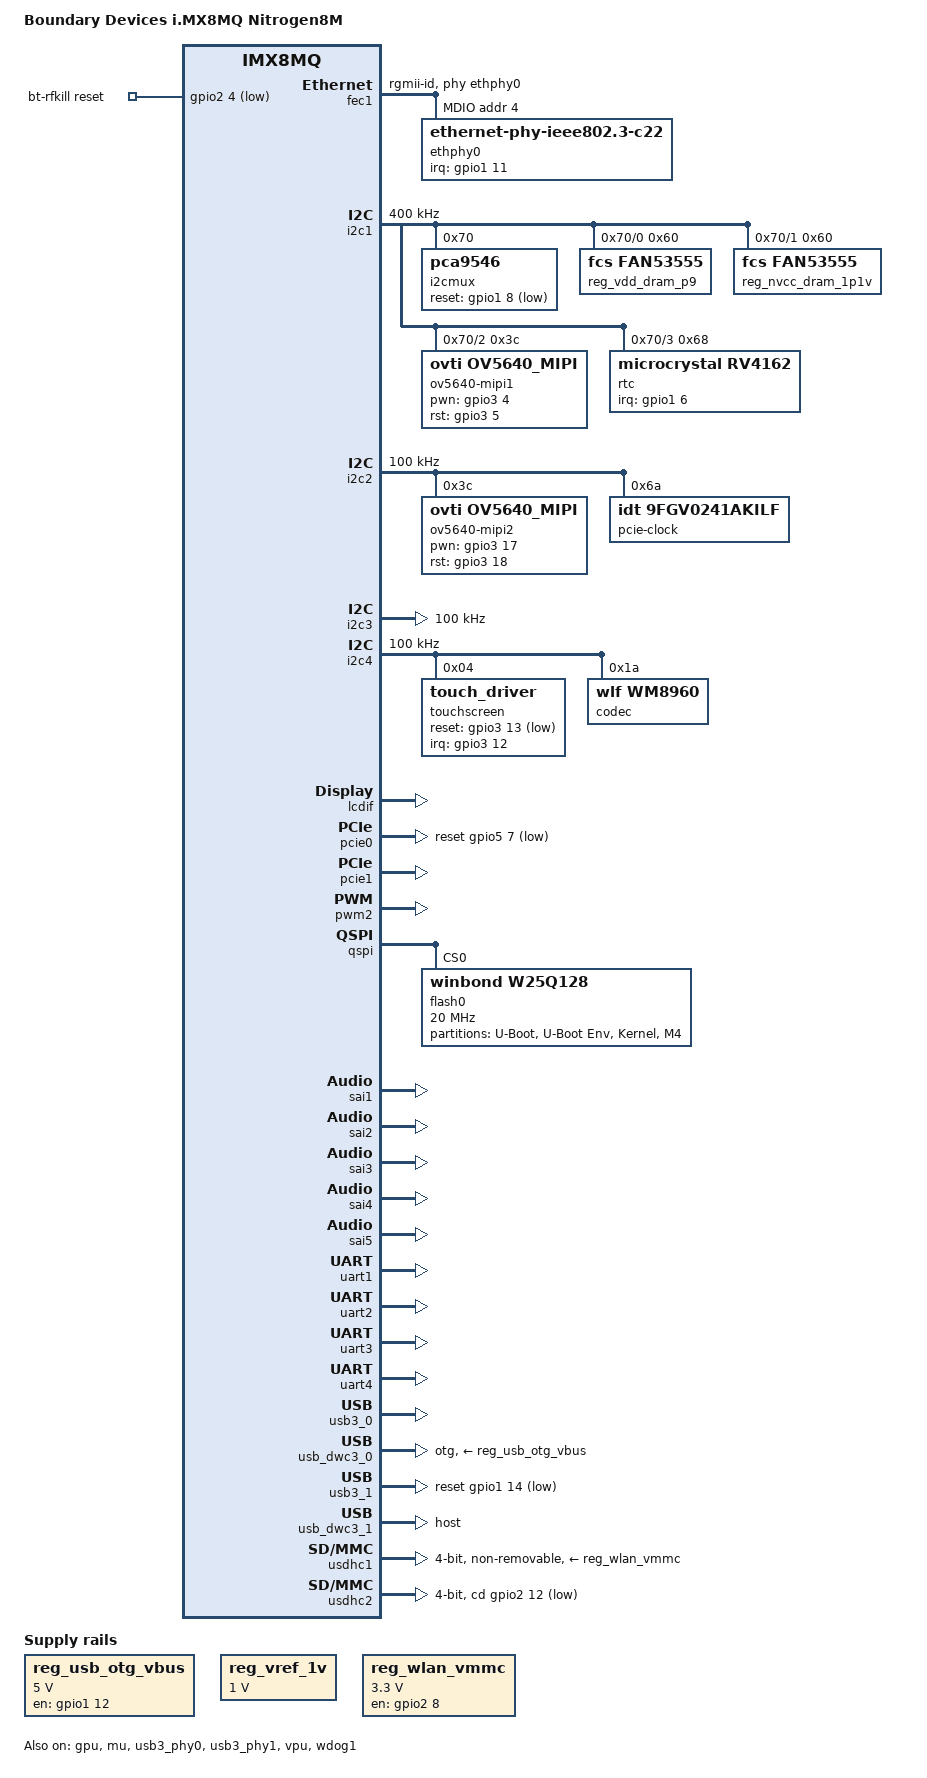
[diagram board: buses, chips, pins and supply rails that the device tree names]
// SPDX-License-Identifier: (GPL-2.0+ OR MIT)
/*
 * Copyright 2018 Boundary Devices
 */

/dts-v1/;

/* First 128KB is for PSCI ATF. */
/memreserve/ 0x40000000 0x00020000;

#include "fsl-imx8mq.dtsi"

/ {
	model = "Boundary Devices i.MX8MQ Nitrogen8M";
	compatible = "boundary,imx8mq-nitrogen8m", "fsl,imx8mq";

	chosen {
		bootargs = "console=ttymxc0,115200 earlycon=ec_imx6q,0x30860000,115200";
		stdout-path = &uart1;
	};

#if 0
	backlight_mipi_dsi: backlight_mipi_dsi {
		compatible = "pwm-backlight";
		brightness-levels = <0 1 2 3 4 5 6 7 8 9 10>;
		default-brightness-level = <8>;
		pwms = <&pwm3 0 30000>;
	};
#endif

	bt-rfkill {
		compatible = "net,rfkill-gpio";
		pinctrl-names = "default";
		pinctrl-0 = <&pinctrl_bt_rfkill>;
		name = "bt-rfkill";
		type = <2>; /* Bluetooth */
		reset-gpios = <&gpio2 4 GPIO_ACTIVE_LOW>;
		status = "okay";
	};

	mipi_mclk: mipi_mclk {
		compatible = "pwm-clock";
		#clock-cells = <0>;
		clock-frequency = <22000000>;
		clock-output-names = "mipi_mclk";
#if 0
		pwms = <&pwm1 0 45>; /* 1 / 45 ns = 22 MHz */
#endif
	};

	reg_usb_otg_vbus: regulator-usb-otg-vbus {
		compatible = "regulator-fixed";
		pinctrl-names = "default";
		pinctrl-0 = <&pinctrl_reg_usbotg_vbus>;
		regulator-name = "usb_otg_vbus";
		regulator-min-microvolt = <5000000>;
		regulator-max-microvolt = <5000000>;
		gpio = <&gpio1 12 GPIO_ACTIVE_HIGH>;
		enable-active-high;
	};

	reg_vref_1v: regulator-vref-1v {
		compatible = "regulator-fixed";
		regulator-name = "vref-1v";
		regulator-min-microvolt = <1000000>;
		regulator-max-microvolt = <1000000>;
	};

	reg_wlan_vmmc: regulator-wlan-vmmc {
		compatible = "regulator-fixed";
		pinctrl-names = "default";
		pinctrl-0 = <&pinctrl_reg_wlan_vmmc>;
		regulator-name = "reg_wlan_vmmc";
		regulator-min-microvolt = <3300000>;
		regulator-max-microvolt = <3300000>;
		gpio = <&gpio2 8 GPIO_ACTIVE_HIGH>;
		startup-delay-us = <70000>;
		enable-active-high;
	};

	sound-wm8960 {
		compatible = "fsl,imx-audio-wm8960";
		model = "wm8960-audio";
		cpu-dai = <&sai1>;
		codec-master;
		audio-codec = <&codec>;
		audio-routing =
			"Headphone Jack", "HP_L",
			"Headphone Jack", "HP_R",
			"Ext Spk", "SPK_LP",
			"Ext Spk", "SPK_LN",
			"Ext Spk", "SPK_RP",
			"Ext Spk", "SPK_RN",
			"LINPUT1", "Main MIC",
			"Main MIC", "MICB";
		/* JD2: hp detect high for headphone*/
		hp-det = <2 0>;
	};

	sound-hdmi {
		compatible = "fsl,imx-audio-cdnhdmi";
		model = "imx-audio-hdmi";
		audio-cpu = <&sai4>;
		protocol = <1>;
	};
};

&iomuxc {
	pinctrl-names = "default";
	pinctrl-0 = <&pinctrl_hog>;

	imx8mq-nitrogen8m {
		pinctrl_hog: hoggrp {
			fsl,pins = <
				/* J17 connector */
				MX8MQ_IOMUXC_GPIO1_IO03_GPIO1_IO3		0x19
				MX8MQ_IOMUXC_GPIO1_IO07_GPIO1_IO7		0x19
				MX8MQ_IOMUXC_GPIO1_IO10_GPIO1_IO10		0x19
				MX8MQ_IOMUXC_NAND_CE1_B_GPIO3_IO2		0x19
				MX8MQ_IOMUXC_NAND_CE2_B_GPIO3_IO3		0x19
				MX8MQ_IOMUXC_SD2_RESET_B_GPIO2_IO19		0x19
				/* J18 connector */
				MX8MQ_IOMUXC_GPIO1_IO02_GPIO1_IO2		0x19
				MX8MQ_IOMUXC_GPIO1_IO05_GPIO1_IO5		0x19
				MX8MQ_IOMUXC_NAND_READY_B_GPIO3_IO16		0x19
			>;
		};

		pinctrl_bt_rfkill: bt-rfkillgrp {
			fsl,pins = <
				MX8MQ_IOMUXC_SD1_DATA5_GPIO2_IO7		0x19
			>;
		};

		pinctrl_csi1: csi1grp {
			fsl,pins = <
				MX8MQ_IOMUXC_NAND_CE3_B_GPIO3_IO4		0x19
				MX8MQ_IOMUXC_NAND_CLE_GPIO3_IO5			0x19
				MX8MQ_IOMUXC_GPIO1_IO15_CCMSRCGPCMIX_CLKO2	0x59
			>;
		};

		pinctrl_csi2: csi2grp {
			fsl,pins = <
				MX8MQ_IOMUXC_NAND_WE_B_GPIO3_IO17		0x19
				MX8MQ_IOMUXC_NAND_WP_B_GPIO3_IO18		0x19
				MX8MQ_IOMUXC_GPIO1_IO15_CCMSRCGPCMIX_CLKO2	0x59
			>;
		};

		pinctrl_ecspi2: ecspi2grp {
			fsl,pins = <
				MX8MQ_IOMUXC_ECSPI2_SCLK_ECSPI2_SCLK		0x19
				MX8MQ_IOMUXC_ECSPI2_MOSI_ECSPI2_MOSI		0x19
				MX8MQ_IOMUXC_ECSPI2_MISO_ECSPI2_MISO		0x19
				MX8MQ_IOMUXC_ECSPI2_SS0_ECSPI2_SS0		0x19
			>;
		};

		pinctrl_fec1: fec1grp {
			fsl,pins = <
				MX8MQ_IOMUXC_ENET_MDC_ENET1_MDC		0x3
				MX8MQ_IOMUXC_ENET_MDIO_ENET1_MDIO	0x23
				MX8MQ_IOMUXC_ENET_TD3_ENET1_RGMII_TD3	0x1f
				MX8MQ_IOMUXC_ENET_TD2_ENET1_RGMII_TD2	0x1f
				MX8MQ_IOMUXC_ENET_TD1_ENET1_RGMII_TD1	0x1f
				MX8MQ_IOMUXC_ENET_TD0_ENET1_RGMII_TD0	0x1f
				MX8MQ_IOMUXC_ENET_RD3_ENET1_RGMII_RD3	0x91
				MX8MQ_IOMUXC_ENET_RD2_ENET1_RGMII_RD2	0x91
				MX8MQ_IOMUXC_ENET_RD1_ENET1_RGMII_RD1	0x91
				MX8MQ_IOMUXC_ENET_RD0_ENET1_RGMII_RD0	0x91
				MX8MQ_IOMUXC_ENET_TXC_ENET1_RGMII_TXC	0x1f
				MX8MQ_IOMUXC_ENET_RXC_ENET1_RGMII_RXC	0x91
				MX8MQ_IOMUXC_ENET_RX_CTL_ENET1_RGMII_RX_CTL	0x91
				MX8MQ_IOMUXC_ENET_TX_CTL_ENET1_RGMII_TX_CTL	0x1f
				MX8MQ_IOMUXC_GPIO1_IO09_GPIO1_IO9	0x19
				MX8MQ_IOMUXC_GPIO1_IO11_GPIO1_IO11	0x59
			>;
		};

		pinctrl_i2c1: i2c1grp {
			fsl,pins = <
				MX8MQ_IOMUXC_I2C1_SCL_I2C1_SCL			0x4000007f
				MX8MQ_IOMUXC_I2C1_SDA_I2C1_SDA			0x4000007f
			>;
		};

		pinctrl_i2c1_pca9546: i2c1-pca9546grp {
			fsl,pins = <
				MX8MQ_IOMUXC_GPIO1_IO08_GPIO1_IO8		0x49
			>;
		};

		pinctrl_i2c1d_rv4162: i2c1d-rv4162grp {
			fsl,pins = <
				MX8MQ_IOMUXC_GPIO1_IO06_GPIO1_IO6		0x49
			>;
		};

		pinctrl_i2c2: i2c2grp {
			fsl,pins = <
				MX8MQ_IOMUXC_I2C2_SCL_I2C2_SCL			0x4000007f
				MX8MQ_IOMUXC_I2C2_SDA_I2C2_SDA			0x4000007f
			>;
		};

		pinctrl_i2c3: i2c3grp {
			fsl,pins = <
				MX8MQ_IOMUXC_I2C3_SCL_I2C3_SCL			0x4000007f
				MX8MQ_IOMUXC_I2C3_SDA_I2C3_SDA			0x4000007f
			>;
		};

		pinctrl_i2c4: i2c4grp {
			fsl,pins = <
				MX8MQ_IOMUXC_I2C4_SCL_I2C4_SCL			0x4000007f
				MX8MQ_IOMUXC_I2C4_SDA_I2C4_SDA			0x4000007f
			>;
		};

		pinctrl_i2c4_touch: i2c4-touchgrp {
			fsl,pins = <
				MX8MQ_IOMUXC_NAND_DATA06_GPIO3_IO12	0x49
				MX8MQ_IOMUXC_NAND_DATA07_GPIO3_IO13	0x49
			>;
		};

		pinctrl_mipi_dsi_en: mipi-dsi-en {
			fsl,pins = <
				MX8MQ_IOMUXC_NAND_RE_B_GPIO3_IO15	0x16
			>;
		};

		pinctrl_pcie0: pcie0grp {
			fsl,pins = <
				MX8MQ_IOMUXC_ECSPI1_MOSI_GPIO5_IO7	0x16
				MX8MQ_IOMUXC_ECSPI1_SCLK_GPIO5_IO6	0x16
			>;
		};

		pinctrl_pwm1: pwm1grp {
			fsl,pins = <
				MX8MQ_IOMUXC_SPDIF_EXT_CLK_PWM1_OUT	0x16
			>;
		};

		pinctrl_pwm2: pwm2grp {
			fsl,pins = <
				MX8MQ_IOMUXC_SPDIF_RX_PWM2_OUT		0x16
			>;
		};

		pinctrl_pwm3: pwm3grp {
			fsl,pins = <
				MX8MQ_IOMUXC_SPDIF_TX_PWM3_OUT		0x16
			>;
		};

		pinctrl_qspi: qspigrp {
			fsl,pins = <
				MX8MQ_IOMUXC_NAND_ALE_QSPI_A_SCLK	0x82
				MX8MQ_IOMUXC_NAND_CE0_B_QSPI_A_SS0_B	0x82
				MX8MQ_IOMUXC_NAND_DATA00_QSPI_A_DATA0	0x82
				MX8MQ_IOMUXC_NAND_DATA01_QSPI_A_DATA1	0x82
				MX8MQ_IOMUXC_NAND_DATA02_QSPI_A_DATA2	0x82
				MX8MQ_IOMUXC_NAND_DATA03_QSPI_A_DATA3	0x82
			>;
		};

		pinctrl_reg_usbotg_vbus: reg-usbotg-vbusgrp {
			fsl,pins = <
				MX8MQ_IOMUXC_GPIO1_IO12_GPIO1_IO12	0x16
			>;
		};

		pinctrl_reg_wlan_vmmc: reg-wlan-vmmcgrp {
			fsl,pins = <
				MX8MQ_IOMUXC_SD1_DATA6_GPIO2_IO8	0x16
			>;
		};

		pinctrl_sai1: sai1grp {
			fsl,pins = <
				MX8MQ_IOMUXC_SAI1_MCLK_SAI1_MCLK		0xd6
				MX8MQ_IOMUXC_SAI1_TXFS_SAI1_TX_SYNC		0xd6
				MX8MQ_IOMUXC_SAI1_TXC_SAI1_TX_BCLK		0xd6
				MX8MQ_IOMUXC_SAI1_TXD0_SAI1_TX_DATA0		0xd6
				MX8MQ_IOMUXC_SAI1_TXD1_SAI1_TX_DATA1		0xd6
				MX8MQ_IOMUXC_SAI1_TXD2_SAI1_TX_DATA2		0xd6
				MX8MQ_IOMUXC_SAI1_TXD3_SAI1_TX_DATA3		0xd6
				MX8MQ_IOMUXC_SAI1_TXD4_SAI1_TX_DATA4		0xd6
				MX8MQ_IOMUXC_SAI1_TXD5_SAI1_TX_DATA5		0xd6
				MX8MQ_IOMUXC_SAI1_TXD6_SAI1_TX_DATA6		0xd6
				MX8MQ_IOMUXC_SAI1_TXD7_SAI1_TX_DATA7		0xd6
				MX8MQ_IOMUXC_SAI1_RXFS_SAI1_RX_SYNC		0xd6
				MX8MQ_IOMUXC_SAI1_RXC_SAI1_RX_BCLK		0xd6
				MX8MQ_IOMUXC_SAI1_RXD0_SAI1_RX_DATA0		0xd6
				MX8MQ_IOMUXC_SAI1_RXD1_SAI1_RX_DATA1		0xd6
				MX8MQ_IOMUXC_SAI1_RXD2_SAI1_RX_DATA2		0xd6
				MX8MQ_IOMUXC_SAI1_RXD3_SAI1_RX_DATA3		0xd6
				MX8MQ_IOMUXC_SAI1_RXD4_SAI1_RX_DATA4		0xd6
				MX8MQ_IOMUXC_SAI1_RXD5_SAI1_RX_DATA5		0xd6
				MX8MQ_IOMUXC_SAI1_RXD6_SAI1_RX_DATA6		0xd6
				MX8MQ_IOMUXC_SAI1_RXD7_SAI1_RX_DATA7		0xd6
			>;
		};

		pinctrl_sai2: sai2grp {
			fsl,pins = <
				MX8MQ_IOMUXC_SAI2_MCLK_SAI2_MCLK		0xd6
				MX8MQ_IOMUXC_SAI2_TXFS_SAI2_TX_SYNC		0xd6
				MX8MQ_IOMUXC_SAI2_TXC_SAI2_TX_BCLK		0xd6
				MX8MQ_IOMUXC_SAI2_TXD0_SAI2_TX_DATA0		0xd6
				MX8MQ_IOMUXC_SAI2_RXFS_SAI2_RX_SYNC		0xd6
				MX8MQ_IOMUXC_SAI2_RXC_SAI2_RX_BCLK		0xd6
				MX8MQ_IOMUXC_SAI2_RXD0_SAI2_RX_DATA0		0xd6
			>;
		};

		pinctrl_sai3: sai3grp {
			fsl,pins = <
				MX8MQ_IOMUXC_SAI3_MCLK_SAI3_MCLK		0xd6
				MX8MQ_IOMUXC_SAI3_TXFS_SAI3_TX_SYNC		0xd6
				MX8MQ_IOMUXC_SAI3_TXC_SAI3_TX_BCLK		0xd6
				MX8MQ_IOMUXC_SAI3_TXD_SAI3_TX_DATA0		0xd6
				MX8MQ_IOMUXC_SAI3_RXFS_SAI3_RX_SYNC		0xd6
				MX8MQ_IOMUXC_SAI3_RXC_SAI3_RX_BCLK		0xd6
				MX8MQ_IOMUXC_SAI3_RXD_SAI3_RX_DATA0		0xd6
			>;
		};

		pinctrl_sai5: sai5grp {
			fsl,pins = <
				MX8MQ_IOMUXC_SAI5_MCLK_SAI5_MCLK		0xd6
				MX8MQ_IOMUXC_SAI5_RXFS_SAI5_RX_SYNC		0xd6
				MX8MQ_IOMUXC_SAI5_RXC_SAI5_RX_BCLK		0xd6
				MX8MQ_IOMUXC_SAI5_RXD0_SAI5_RX_DATA0		0xd6
				MX8MQ_IOMUXC_SAI5_RXD1_SAI5_RX_DATA1		0xd6
				MX8MQ_IOMUXC_SAI5_RXD2_SAI5_RX_DATA2		0xd6
				MX8MQ_IOMUXC_SAI5_RXD3_SAI5_RX_DATA3		0xd6
			>;
		};

		pinctrl_uart1: uart1grp {
			fsl,pins = <
				MX8MQ_IOMUXC_UART1_RXD_UART1_DCE_RX		0x49
				MX8MQ_IOMUXC_UART1_TXD_UART1_DCE_TX		0x49
			>;
		};

		pinctrl_uart2: uart2grp {
			fsl,pins = <
				MX8MQ_IOMUXC_UART2_RXD_UART2_DCE_RX		0x49
				MX8MQ_IOMUXC_UART2_TXD_UART2_DCE_TX		0x49
			>;
		};

		pinctrl_uart3: uart3grp {
			fsl,pins = <
				MX8MQ_IOMUXC_UART3_RXD_UART3_DCE_RX		0x49
				MX8MQ_IOMUXC_UART3_TXD_UART3_DCE_TX		0x49
				MX8MQ_IOMUXC_ECSPI1_SS0_UART3_DCE_RTS_B		0x49
				MX8MQ_IOMUXC_ECSPI1_MISO_UART3_DCE_CTS_B	0x49
			>;
		};

		pinctrl_uart4: uart4grp {
			fsl,pins = <
				MX8MQ_IOMUXC_UART4_RXD_UART4_DCE_RX		0x49
				MX8MQ_IOMUXC_UART4_TXD_UART4_DCE_TX		0x49
			>;
		};

		pinctrl_usb3_1: usb3-1grp {
			fsl,pins = <
				MX8MQ_IOMUXC_GPIO1_IO14_GPIO1_IO14		0x16
			>;
		};

		pinctrl_usdhc1: usdhc1grp {
			fsl,pins = <
				MX8MQ_IOMUXC_SD1_CLK_USDHC1_CLK			0x83
				MX8MQ_IOMUXC_SD1_CMD_USDHC1_CMD			0xc3
				MX8MQ_IOMUXC_SD1_DATA0_USDHC1_DATA0		0xc3
				MX8MQ_IOMUXC_SD1_DATA1_USDHC1_DATA1		0xc3
				MX8MQ_IOMUXC_SD1_DATA2_USDHC1_DATA2		0xc3
				MX8MQ_IOMUXC_SD1_DATA3_USDHC1_DATA3		0xc3
				MX8MQ_IOMUXC_SD1_STROBE_USDHC1_STROBE		0x83
				MX8MQ_IOMUXC_SD1_RESET_B_USDHC1_RESET_B		0xc1
			>;
		};

		pinctrl_usdhc1_100mhz: usdhc1grp100mhz {
			fsl,pins = <
				MX8MQ_IOMUXC_SD1_CLK_USDHC1_CLK			0x85
				MX8MQ_IOMUXC_SD1_CMD_USDHC1_CMD			0xc5
				MX8MQ_IOMUXC_SD1_DATA0_USDHC1_DATA0		0xc5
				MX8MQ_IOMUXC_SD1_DATA1_USDHC1_DATA1		0xc5
				MX8MQ_IOMUXC_SD1_DATA2_USDHC1_DATA2		0xc5
				MX8MQ_IOMUXC_SD1_DATA3_USDHC1_DATA3		0xc5
				MX8MQ_IOMUXC_SD1_STROBE_USDHC1_STROBE		0x85
				MX8MQ_IOMUXC_SD1_RESET_B_USDHC1_RESET_B		0xc1
			>;
		};

		pinctrl_usdhc1_200mhz: usdhc1grp200mhz {
			fsl,pins = <
				MX8MQ_IOMUXC_SD1_CLK_USDHC1_CLK			0x87
				MX8MQ_IOMUXC_SD1_CMD_USDHC1_CMD			0xc7
				MX8MQ_IOMUXC_SD1_DATA0_USDHC1_DATA0		0xc7
				MX8MQ_IOMUXC_SD1_DATA1_USDHC1_DATA1		0xc7
				MX8MQ_IOMUXC_SD1_DATA2_USDHC1_DATA2		0xc7
				MX8MQ_IOMUXC_SD1_DATA3_USDHC1_DATA3		0xc7
				MX8MQ_IOMUXC_SD1_STROBE_USDHC1_STROBE		0x87
				MX8MQ_IOMUXC_SD1_RESET_B_USDHC1_RESET_B		0xc1
			>;
		};

		pinctrl_usdhc2_gpio: usdhc2grpgpio {
			fsl,pins = <
				MX8MQ_IOMUXC_SD2_CD_B_GPIO2_IO12	0x41
			>;
		};

		pinctrl_usdhc2: usdhc2grp {
			fsl,pins = <
				MX8MQ_IOMUXC_SD2_CLK_USDHC2_CLK			0x83
				MX8MQ_IOMUXC_SD2_CMD_USDHC2_CMD			0xc3
				MX8MQ_IOMUXC_SD2_DATA0_USDHC2_DATA0		0xc3
				MX8MQ_IOMUXC_SD2_DATA1_USDHC2_DATA1		0xc3
				MX8MQ_IOMUXC_SD2_DATA2_USDHC2_DATA2		0xc3
				MX8MQ_IOMUXC_SD2_DATA3_USDHC2_DATA3		0xc3
				MX8MQ_IOMUXC_GPIO1_IO04_USDHC2_VSELECT		0xc1
			>;
		};

		pinctrl_usdhc2_100mhz: usdhc2grp100mhz {
			fsl,pins = <
				MX8MQ_IOMUXC_SD2_CLK_USDHC2_CLK			0x85
				MX8MQ_IOMUXC_SD2_CMD_USDHC2_CMD			0xc5
				MX8MQ_IOMUXC_SD2_DATA0_USDHC2_DATA0		0xc5
				MX8MQ_IOMUXC_SD2_DATA1_USDHC2_DATA1		0xc5
				MX8MQ_IOMUXC_SD2_DATA2_USDHC2_DATA2		0xc5
				MX8MQ_IOMUXC_SD2_DATA3_USDHC2_DATA3		0xc5
				MX8MQ_IOMUXC_GPIO1_IO04_USDHC2_VSELECT		0xc1
			>;
		};

		pinctrl_usdhc2_200mhz: usdhc2grp200mhz {
			fsl,pins = <
				MX8MQ_IOMUXC_SD2_CLK_USDHC2_CLK			0x87
				MX8MQ_IOMUXC_SD2_CMD_USDHC2_CMD			0xc7
				MX8MQ_IOMUXC_SD2_DATA0_USDHC2_DATA0		0xc7
				MX8MQ_IOMUXC_SD2_DATA1_USDHC2_DATA1		0xc7
				MX8MQ_IOMUXC_SD2_DATA2_USDHC2_DATA2		0xc7
				MX8MQ_IOMUXC_SD2_DATA3_USDHC2_DATA3		0xc7
				MX8MQ_IOMUXC_GPIO1_IO04_USDHC2_VSELECT		0xc1
			>;
		};
	};
};

&A53_0 {
	operating-points = <
		/* kHz    uV */
		1500000 1000000
		1300000 1000000
		1000000 900000
		800000  900000
	>;
};

&clk {
	assigned-clocks = <&clk IMX8MQ_AUDIO_PLL1>, <&clk IMX8MQ_AUDIO_PLL2>;
	assigned-clock-rates = <786432000>, <722534400>;
};

#if 0
&csi1_bridge {
	fsl,mipi-mode;
	fsl,two-8bit-sensor-mode;
	status = "okay";

	port {
		csi1_ep: endpoint {
			remote-endpoint = <&csi1_mipi_ep>;
		};
	};
};

&csi2_bridge {
	fsl,mipi-mode;
	fsl,two-8bit-sensor-mode;
	status = "okay";

	port {
		csi2_ep: endpoint {
			remote-endpoint = <&csi2_mipi_ep>;
		};
	};
};

&dcss {
	status = "okay";
	disp-dev = "hdmi_disp";
};

&ecspi2 {
	pinctrl-names = "default";
	pinctrl-0 = <&pinctrl_ecspi2>;
	status = "okay";
};
#endif

&fec1 {
	pinctrl-names = "default";
	pinctrl-0 = <&pinctrl_fec1>;
#if 0
	phy-reset-gpios = <&gpio1 9 GPIO_ACTIVE_HIGH>;
#endif
	phy-mode = "rgmii-id";
	phy-handle = <&ethphy0>;
	fsl,magic-packet;
	status = "okay";

	mdio {
		#address-cells = <1>;
		#size-cells = <0>;

		ethphy0: ethernet-phy@4 {
			compatible = "ethernet-phy-ieee802.3-c22";
			reg = <4>;
			interrupts-extended = <&gpio1 11 IRQ_TYPE_LEVEL_LOW>;
		};
	};
};

&gpu {
	status = "okay";
};

#if 0
&hdmi {
	status = "okay";
};

&hdmi_cec {
	status = "okay";
};
#endif

&i2c1 {
	clock-frequency = <400000>;
	pinctrl-names = "default";
	pinctrl-0 = <&pinctrl_i2c1>;
	status = "okay";

	i2cmux@70 {
		compatible = "pca9546";
		pinctrl-names = "default";
		pinctrl-0 = <&pinctrl_i2c1_pca9546>;
		reg = <0x70>;
		reset-gpios = <&gpio1 8 GPIO_ACTIVE_LOW>;
		#address-cells = <1>;
		#size-cells = <0>;

		i2c1a: i2c1@0 {
			reg = <0>;
			#address-cells = <1>;
			#size-cells = <0>;
		};

		i2c1b: i2c1@1 {
			reg = <1>;
			#address-cells = <1>;
			#size-cells = <0>;
		};

		i2c1c: i2c1@2 {
			reg = <2>;
			#address-cells = <1>;
			#size-cells = <0>;
		};

		i2c1d: i2c1@3 {
			reg = <3>;
			#address-cells = <1>;
			#size-cells = <0>;
		};
	};
};

&i2c1a {
	reg_vdd_dram_p9: fan53555@60 {
		compatible = "fcs,fan53555";
		reg = <0x60>;
	};
};

&i2c1b {
	reg_nvcc_dram_1p1v: fan53555@60 {
		compatible = "fcs,fan53555";
		reg = <0x60>;
	};
};

&i2c1c {
	ov5640-mipi1@3c {
		compatible = "ovti,ov5640_mipi";
		reg = <0x3c>;
		status = "okay";
		pinctrl-names = "default";
		pinctrl-0 = <&pinctrl_csi1>;
		clocks = <&mipi_mclk>;
		clock-names = "csi_mclk";
		csi_id = <0>;
		pwn-gpios = <&gpio3 4 GPIO_ACTIVE_HIGH>;
		rst-gpios = <&gpio3 5 GPIO_ACTIVE_HIGH>;
		mclk = <22000000>;
		mclk_source = <0>;
#if 0
		port {
			ov5640_mipi1_ep: endpoint {
				remote-endpoint = <&mipi1_sensor_ep>;
			};
		};
#endif
	};
};

&i2c1d {
	rtc@68 {
		compatible = "microcrystal,rv4162";
		pinctrl-names = "default";
		pinctrl-0 = <&pinctrl_i2c1d_rv4162>;
		reg = <0x68>;
		interrupts-extended = <&gpio1 6 IRQ_TYPE_LEVEL_LOW>;
		wakeup-source;
	};
};

&i2c2 {
	clock-frequency = <100000>;
	pinctrl-names = "default";
	pinctrl-0 = <&pinctrl_i2c2>;
	status = "okay";

	ov5640-mipi2@3c {
		compatible = "ovti,ov5640_mipi";
		reg = <0x3c>;
		status = "okay";
		pinctrl-names = "default";
		pinctrl-0 = <&pinctrl_csi2>;
		clocks = <&mipi_mclk>;
		clock-names = "csi_mclk";
		csi_id = <1>;
		pwn-gpios = <&gpio3 17 GPIO_ACTIVE_HIGH>;
		rst-gpios = <&gpio3 18 GPIO_ACTIVE_HIGH>;
		mclk = <22000000>;
		mclk_source = <0>;
#if 0
		port {
			ov5640_mipi2_ep: endpoint {
				remote-endpoint = <&mipi2_sensor_ep>;
			};
		};
#endif
	};

	pcie-clock@6a {
		compatible = "idt,9FGV0241AKILF";
		/* TODO */
		reg = <0x6a>;
	};
};

&i2c3 {
	clock-frequency = <100000>;
	pinctrl-names = "default";
	pinctrl-0 = <&pinctrl_i2c3>;
	status = "okay";
};

&i2c4 {
	clock-frequency = <100000>;
	pinctrl-names = "default";
	pinctrl-0 = <&pinctrl_i2c4>;
	status = "okay";

	/* TODO */
	touchscreen@04 {
		compatible = "touch_driver";
		pinctrl-names = "default";
		pinctrl-0 = <&pinctrl_i2c4_touch>;
		reg = <0x04>;
		interrupts-extended = <&gpio3 12 IRQ_TYPE_LEVEL_LOW>;
		reset-gpios = <&gpio3 13 GPIO_ACTIVE_LOW>;
	};

	codec: wm8960@1a {
		compatible = "wlf,wm8960";
		reg = <0x1a>;
		clocks = <&clk IMX8MQ_CLK_SAI1_ROOT>;
		clock-names = "mclk";
		wlf,shared-lrclk;
	};
};

&lcdif {
	status = "okay";

#if 0
	assigned-clocks = <&clk IMX8MQ_CLK_LCDIF_PIXEL_SRC>,
			  <&clk IMX8MQ_VIDEO_PLL1_REF_SEL>,
			  <&clk IMX8MQ_VIDEO_PLL1>;
	assigned-clock-parents = <&clk IMX8MQ_VIDEO_PLL1_OUT>,
				 <&clk IMX8MQ_CLK_25M>;
	assigned-clock-rate = <120000000>,
			      <0>,
			      <599999999>;

	port@0 {
		lcdif_mipi_dsi: mipi-dsi-endpoint {
			remote-endpoint = <&mipi_dsi_in>;
		};
	};
#endif
};

#if 0
&mipi_csi_1 {
	#address-cells = <1>;
	#size-cells = <0>;
	status = "okay";
	port {
		mipi1_sensor_ep: endpoint1 {
			remote-endpoint = <&ov5640_mipi1_ep>;
			data-lanes = <1 2>;
		};

		csi1_mipi_ep: endpoint2 {
			remote-endpoint = <&csi1_ep>;
		};
	};
};

&mipi_csi_2 {
	#address-cells = <1>;
	#size-cells = <0>;
	status = "okay";
	port {
		mipi2_sensor_ep: endpoint1 {
			remote-endpoint = <&ov5640_mipi2_ep>;
			data-lanes = <1 2>;
		};

		csi2_mipi_ep: endpoint2 {
			remote-endpoint = <&csi2_ep>;
		};
	};
};

&mipi_dsi_phy {
	status = "okay";
};

&mipi_dsi {
	status = "okay";
	as_bridge;
	sync-pol = <1>;
	assigned-clocks = <&clk IMX8MQ_CLK_DSI_PHY_REF_SRC>,
			  <&clk IMX8MQ_CLK_DSI_CORE_SRC>,
			  <&clk IMX8MQ_VIDEO_PLL1_REF_SEL>,
			  <&clk IMX8MQ_VIDEO_PLL1>;
	assigned-clock-parents = <&clk IMX8MQ_VIDEO_PLL1_OUT>,
				 <&clk IMX8MQ_SYS1_PLL_266M>,
				 <&clk IMX8MQ_CLK_25M>;
	assigned-clock-rates = <24000000>,
			       <266000000>,
			       <0>,
			       <599999999>;

	port@1 {
		mipi_dsi_in: endpoint {
			remote-endpoint = <&lcdif_mipi_dsi>;
		};
	};
};

&mipi_dsi_bridge {
	status = "disabled";

	fb_mipi_dsi: panel@0 {
		compatible = "raydium,rm67191";
		reg = <0>;
		pinctrl-0 = <&pinctrl_mipi_dsi_en>;
		reset-gpio = <&gpio3 15 GPIO_ACTIVE_HIGH>;
		dsi-lanes = <4>;
		panel-width-mm = <68>;
		panel-height-mm = <121>;
		port {
			panel1_in: endpoint {
				remote-endpoint = <&mipi_dsi_bridge_out>;
			};
		};
	};

	port@1 {
		mipi_dsi_bridge_out: endpoint {
			remote-endpoint = <&panel1_in>;
		};
	};
};
#endif

&mu {
	status = "okay";
};

&pcie0 {
	pinctrl-names = "default";
	pinctrl-0 = <&pinctrl_pcie0>;
	/* TODO check clock */
	disable-gpio = <&gpio5 6 GPIO_ACTIVE_LOW>;
	reset-gpio = <&gpio5 7 GPIO_ACTIVE_LOW>;
	ext_osc = <1>;
	status = "okay";
};

&pcie1 {
	/* TODO check clock */
	ext_osc = <1>;
	hard-wired = <1>;
	status = "okay";
};

#if 0
&pwm1 {
	pinctrl-names = "default";
	pinctrl-0 = <&pinctrl_pwm1>;
	status = "okay";
};
#endif

&pwm2 {
	pinctrl-names = "default";
	pinctrl-0 = <&pinctrl_pwm2>;
	status = "okay";
};

#if 0
&pwm3 {
	pinctrl-names = "default";
	pinctrl-0 = <&pinctrl_pwm3>;
	status = "okay";
};
#endif

&qspi {
	pinctrl-names = "default";
	pinctrl-0 = <&pinctrl_qspi>;
	status = "okay";

	flash0: w25q128@0 {
		reg = <0>;
		#address-cells = <1>;
		#size-cells = <1>;
		compatible = "winbond,w25q128";
		spi-max-frequency = <20000000>;

		partition@0 {
			label = "U-Boot";
			reg = <0x0 0xC0000>;
			read-only;
		};

		partition@C0000 {
			label = "U-Boot Env";
			reg = <0xC0000 0x2000>;
			read-only;
		};

		partition@C2000 {
			label = "Kernel";
			reg = <0xC4000 0x11e000>;
		};

		partition@1E0000 {
			label = "M4";
			reg = <0x1E0000 0x20000>;
		};
	};
};

#if 0
&rpmsg{
	/*
	 * 64K for one rpmsg instance:
	 * --0xb8000000~0xb800ffff: pingpong
	 */
	vdev-nums = <1>;
	reg = <0x0 0xb8000000 0x0 0x10000>;
	status = "okay";
};
#endif

&sai1 {
	pinctrl-names = "default";
	pinctrl-0 = <&pinctrl_sai1>;
	assigned-clocks = <&clk IMX8MQ_CLK_SAI1_SRC>,
			<&clk IMX8MQ_CLK_SAI1_DIV>;
	assigned-clock-parents = <&clk IMX8MQ_AUDIO_PLL1_OUT>;
	assigned-clock-rates = <0>, <49152000>;
	status = "okay";
};

&sai2 {
	pinctrl-names = "default";
	pinctrl-0 = <&pinctrl_sai2>;
	status = "okay";
};

&sai3 {
	pinctrl-names = "default";
	pinctrl-0 = <&pinctrl_sai3>;
	status = "okay";
};

&sai4 {
	assigned-clocks = <&clk IMX8MQ_CLK_SAI4_SRC>,
			<&clk IMX8MQ_CLK_SAI4_DIV>;
	assigned-clock-parents = <&clk IMX8MQ_AUDIO_PLL1_OUT>;
	assigned-clock-rates = <0>, <24576000>;
	status = "okay";
};

&sai5 {
	pinctrl-names = "default";
	pinctrl-0 = <&pinctrl_sai5>;
	status = "okay";
};

&uart1 { /* console */
	pinctrl-names = "default";
	pinctrl-0 = <&pinctrl_uart1>;
	assigned-clocks = <&clk IMX8MQ_CLK_UART1_SRC>;
	assigned-clock-parents = <&clk IMX8MQ_CLK_25M>;
	status = "okay";
};

&uart2 {
	pinctrl-names = "default";
	pinctrl-0 = <&pinctrl_uart2>;
	assigned-clocks = <&clk IMX8MQ_CLK_UART2_SRC>;
	assigned-clock-parents = <&clk IMX8MQ_CLK_25M>;
	status = "okay";
};

&uart3 {
	pinctrl-names = "default";
	pinctrl-0 = <&pinctrl_uart3>;
	assigned-clocks = <&clk IMX8MQ_CLK_UART3_SRC>;
	assigned-clock-parents = <&clk IMX8MQ_CLK_25M>;
	uart-has-rtscts;
	status = "okay";
};

&uart4 {
	pinctrl-names = "default";
	pinctrl-0 = <&pinctrl_uart4>;
	assigned-clocks = <&clk IMX8MQ_CLK_UART4_SRC>;
	assigned-clock-parents = <&clk IMX8MQ_CLK_25M>;
	status = "okay";
};

&usb3_phy0 {
	status = "okay";
};

&usb3_0 {
	status = "okay";
};

&usb_dwc3_0 {
	status = "okay";
	dr_mode = "otg";
	vbus-supply = <&reg_usb_otg_vbus>;
};

&usb3_phy1 {
	status = "okay";
};

&usb3_1 {
	pinctrl-names = "default";
	pinctrl-0 = <&pinctrl_usb3_1>;
	reset-gpios = <&gpio1 14 GPIO_ACTIVE_LOW>;
	status = "okay";
};

&usb_dwc3_1 {
	status = "okay";
	dr_mode = "host";
};

&usdhc1 {
	pinctrl-names = "default", "state_100mhz", "state_200mhz";
	pinctrl-0 = <&pinctrl_usdhc1>;
	pinctrl-1 = <&pinctrl_usdhc1_100mhz>;
	pinctrl-2 = <&pinctrl_usdhc1_200mhz>;
	bus-width = <4>;
	non-removable;
	vmmc-supply = <&reg_wlan_vmmc>;
	status = "okay";
};

&usdhc2 {
	pinctrl-names = "default", "state_100mhz", "state_200mhz";
	pinctrl-0 = <&pinctrl_usdhc2>, <&pinctrl_usdhc2_gpio>;
	pinctrl-1 = <&pinctrl_usdhc2_100mhz>, <&pinctrl_usdhc2_gpio>;
	pinctrl-2 = <&pinctrl_usdhc2_200mhz>, <&pinctrl_usdhc2_gpio>;
	bus-width = <4>;
	cd-gpios = <&gpio2 12 GPIO_ACTIVE_LOW>;
	status = "okay";
};

&vpu {
	regulator-supply = <&reg_vref_1v>;
	status = "okay";
};

&wdog1 {
	status = "okay";
};
